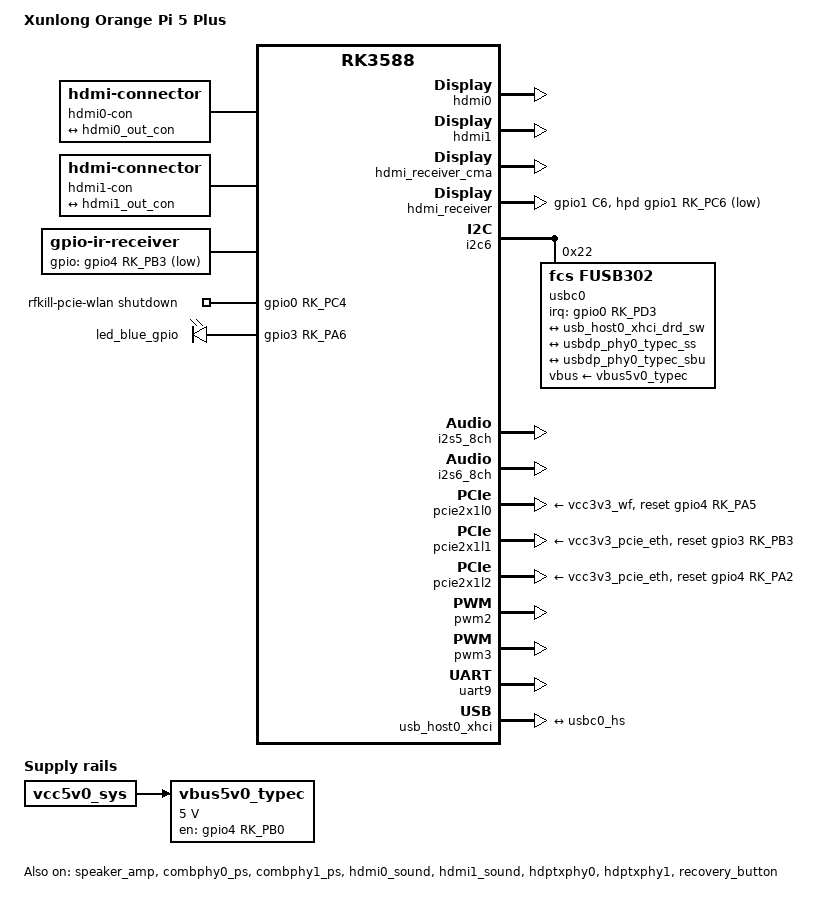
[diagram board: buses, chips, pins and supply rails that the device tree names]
// SPDX-License-Identifier: (GPL-2.0+ OR MIT)
/*
 * Copyright (c) 2023 Ondřej Jirman <megi@xff.cz>
 */

/dts-v1/;

#include <dt-bindings/gpio/gpio.h>
#include <dt-bindings/pinctrl/rockchip.h>
#include <dt-bindings/soc/rockchip,vop2.h>
#include <dt-bindings/usb/pd.h>
#include "rk3588-orangepi-5.dtsi"

/ {
	model = "Xunlong Orange Pi 5 Plus";
	compatible = "xunlong,orangepi-5-plus", "rockchip,rk3588";

	hdmi0-con {
		compatible = "hdmi-connector";
		type = "a";

		port {
			hdmi0_con_in: endpoint {
				remote-endpoint = <&hdmi0_out_con>;
			};
		};
	};

	hdmi1-con {
		compatible = "hdmi-connector";
		type = "a";

		port {
			hdmi1_con_in: endpoint {
				remote-endpoint = <&hdmi1_out_con>;
			};
		};
	};

	ir-receiver {
		compatible = "gpio-ir-receiver";
		gpios = <&gpio4 RK_PB3 GPIO_ACTIVE_LOW>;
		pinctrl-names = "default";
		pinctrl-0 = <&ir_receiver_pin>;
	};

	rfkill {
		compatible = "rfkill-gpio";
		label = "rfkill-pcie-wlan";
		radio-type = "wlan";
		shutdown-gpios = <&gpio0 RK_PC4 GPIO_ACTIVE_HIGH>;
	};

	vbus5v0_typec: regulator-vbus-typec {
		compatible = "regulator-fixed";
		enable-active-high;
		gpio = <&gpio4 RK_PB0 GPIO_ACTIVE_HIGH>;
		pinctrl-names = "default";
		pinctrl-0 = <&typec5v_pwren>;
		regulator-name = "vbus5v0_typec";
		regulator-min-microvolt = <5000000>;
		regulator-max-microvolt = <5000000>;
		vin-supply = <&vcc5v0_sys>;
	};
};

&speaker_amp {
	enable-gpios = <&gpio3 RK_PC0 GPIO_ACTIVE_HIGH>;
	status = "okay";
};

&headphone_amp {
	enable-gpios = <&gpio3 RK_PA7 GPIO_ACTIVE_HIGH>;
};

&analog_sound {
	pinctrl-names = "default";
	pinctrl-0 = <&hp_detect>;
	simple-audio-card,aux-devs = <&speaker_amp>, <&headphone_amp>;
	simple-audio-card,hp-det-gpios = <&gpio1 RK_PD3 GPIO_ACTIVE_HIGH>;
	simple-audio-card,widgets =
		"Microphone", "Onboard Microphone",
		"Microphone", "Microphone Jack",
		"Speaker", "Speaker",
		"Headphone", "Headphones";

	simple-audio-card,routing =
		"Headphones", "LOUT1",
		"Headphones", "ROUT1",
		"Speaker", "LOUT2",
		"Speaker", "ROUT2",

		"Headphones", "Headphones Amp OUTL",
		"Headphones", "Headphones Amp OUTR",
		"Headphones Amp INL", "LOUT1",
		"Headphones Amp INR", "ROUT1",

		"Speaker", "Speaker Amp OUTL",
		"Speaker", "Speaker Amp OUTR",
		"Speaker Amp INL", "LOUT2",
		"Speaker Amp INR", "ROUT2",

		/* single ended signal to LINPUT1 */
		"LINPUT1", "Microphone Jack",
		"RINPUT1", "Microphone Jack",
		/* differential signal */
		"LINPUT2", "Onboard Microphone",
		"RINPUT2", "Onboard Microphone";
};

&combphy0_ps {
	status = "okay";
};

&combphy1_ps {
	status = "okay";
};

&fan {
	pwms = <&pwm3 0 50000 0>;
};

&hdmi0 {
	status = "okay";
};

&hdmi0_sound {
	status = "okay";
};

&hdmi0_in {
	hdmi0_in_vp0: endpoint {
		remote-endpoint = <&vp0_out_hdmi0>;
	};
};

&hdmi0_out {
	hdmi0_out_con: endpoint {
		remote-endpoint = <&hdmi0_con_in>;
	};
};

&hdmi1 {
	status = "okay";
};

&hdmi1_in {
	hdmi1_in_vp1: endpoint {
		remote-endpoint = <&vp1_out_hdmi1>;
	};
};

&hdmi1_out {
	hdmi1_out_con: endpoint {
		remote-endpoint = <&hdmi1_con_in>;
	};
};

&hdmi1_sound {
	status = "okay";
};

&hdmi_receiver_cma {
	status = "okay";
};

&hdmi_receiver {
	hpd-gpios = <&gpio1 RK_PC6 GPIO_ACTIVE_LOW>;
	pinctrl-0 = <&hdmim1_rx_cec &hdmim1_rx_hpdin &hdmim1_rx_scl &hdmim1_rx_sda &hdmirx_hpd>;
	pinctrl-names = "default";
	status = "okay";
};

&hdptxphy0 {
	status = "okay";
};

&hdptxphy1 {
	status = "okay";
};

&hym8563 {
	interrupt-parent = <&gpio0>;
	interrupts = <RK_PB0 IRQ_TYPE_LEVEL_LOW>;
	pinctrl-names = "default";
	pinctrl-0 = <&hym8563_int>;
};

&i2c6 {
	usbc0: usb-typec@22 {
		compatible = "fcs,fusb302";
		reg = <0x22>;
		interrupt-parent = <&gpio0>;
		interrupts = <RK_PD3 IRQ_TYPE_LEVEL_LOW>;
		pinctrl-names = "default";
		pinctrl-0 = <&usbc0_int>;
		vbus-supply = <&vbus5v0_typec>;
		status = "okay";

		usb_con: connector {
			compatible = "usb-c-connector";
			data-role = "dual";
			label = "USB-C";
			power-role = "dual";
			op-sink-microwatt = <10>;
			source-pdos = <PDO_FIXED(5000, 1400, PDO_FIXED_USB_COMM)>;
			sink-pdos = <PDO_FIXED(5000, 10, PDO_FIXED_USB_COMM)>;
			try-power-role = "source";

			ports {
				#address-cells = <1>;
				#size-cells = <0>;

				port@0 {
					reg = <0>;

					usbc0_hs: endpoint {
						remote-endpoint = <&usb_host0_xhci_drd_sw>;
					};
				};

				port@1 {
					reg = <1>;

					usbc0_ss: endpoint {
						remote-endpoint = <&usbdp_phy0_typec_ss>;
					};
				};

				port@2 {
					reg = <2>;

					usbc0_sbu: endpoint {
						remote-endpoint = <&usbdp_phy0_typec_sbu>;
					};
				};
			};
		};
	};
};

&i2s5_8ch {
	status = "okay";
};

&i2s6_8ch {
	status = "okay";
};

&led_blue_gpio {
	gpios = <&gpio3 RK_PA6 GPIO_ACTIVE_HIGH>;
	status = "okay";
};

&led_green_pwm {
	pwms = <&pwm2 0 25000 0>;
};

/* phy1 - M.KEY socket */
&pcie2x1l0 {
	reset-gpios = <&gpio4 RK_PA5 GPIO_ACTIVE_HIGH>;
	vpcie3v3-supply = <&vcc3v3_wf>;
	status = "okay";
};

/* phy2 - right ethernet port */
&pcie2x1l1 {
	reset-gpios = <&gpio3 RK_PB3 GPIO_ACTIVE_HIGH>;
	vpcie3v3-supply = <&vcc3v3_pcie_eth>;
	status = "okay";
};

/* phy0 - left ethernet port */
&pcie2x1l2 {
	reset-gpios = <&gpio4 RK_PA2 GPIO_ACTIVE_HIGH>;
	vpcie3v3-supply = <&vcc3v3_pcie_eth>;
	status = "okay";
};

&pinctrl {
	hym8563 {
		hym8563_int: hym8563-int {
			rockchip,pins = <0 RK_PB0 RK_FUNC_GPIO &pcfg_pull_none>;
		};
	};

	leds {
		blue_led_pin: blue-led {
			rockchip,pins = <3 RK_PA6 RK_FUNC_GPIO &pcfg_pull_up>;
		};
	};

	hdmirx {
		hdmirx_hpd: hdmirx-5v-detection {
			rockchip,pins = <1 RK_PC6 RK_FUNC_GPIO &pcfg_pull_none>;
		};
	};

	ir-receiver {
		ir_receiver_pin: ir-receiver-pin {
			rockchip,pins = <4 RK_PB3 RK_FUNC_GPIO &pcfg_pull_none>;
		};
	};

	sound {
		hp_detect: hp-detect {
			rockchip,pins = <1 RK_PD3 RK_FUNC_GPIO &pcfg_pull_none>;
		};
	};

	usb {
		vcc5v0_usb20_en: vcc5v0-usb20-en {
			rockchip,pins = <3 RK_PB7 RK_FUNC_GPIO &pcfg_pull_none>;
		};
	};

	usb-typec {
		usbc0_int: usbc0-int {
			rockchip,pins = <0 RK_PD3 RK_FUNC_GPIO &pcfg_pull_up>;
		};

		typec5v_pwren: typec5v-pwren {
			rockchip,pins = <4 RK_PB0 RK_FUNC_GPIO &pcfg_pull_none>;
		};
	};
};

&pwm2 {
	pinctrl-0 = <&pwm2m1_pins>;
	pinctrl-names = "default";
	status = "okay";
};

&pwm3 {
	pinctrl-0 = <&pwm3m1_pins>;
	status = "okay";
};

&recovery_button {
	status = "okay";
};

&sfc {
	pinctrl-names = "default";
	pinctrl-0 = <&fspim1_pins>;
};

&u2phy1_otg {
	phy-supply = <&vcc5v0_sys>;
};

&uart9 {
	pinctrl-0 = <&uart9m0_xfer>;
	status = "okay";
};

&usbdp_phy0 {
	mode-switch;
	orientation-switch;
	sbu1-dc-gpios = <&gpio4 RK_PA6 GPIO_ACTIVE_HIGH>;
	sbu2-dc-gpios = <&gpio4 RK_PA7 GPIO_ACTIVE_HIGH>;

	port {
		#address-cells = <1>;
		#size-cells = <0>;

		usbdp_phy0_typec_ss: endpoint@0 {
			reg = <0>;
			remote-endpoint = <&usbc0_ss>;
		};

		usbdp_phy0_typec_sbu: endpoint@1 {
			reg = <1>;
			remote-endpoint = <&usbc0_sbu>;
		};
	};
};

&usb_host0_xhci {
	usb-role-switch;

	port {
		usb_host0_xhci_drd_sw: endpoint {
			remote-endpoint = <&usbc0_hs>;
		};
	};
};

&vcc3v3_pcie_eth {
	gpios = <&gpio3 RK_PB4 GPIO_ACTIVE_LOW>;
};

&vcc3v3_wf {
	status = "okay";
};

&vcc5v0_usb20 {
	gpio = <&gpio3 RK_PB7 GPIO_ACTIVE_HIGH>;
	pinctrl-names = "default";
	pinctrl-0 = <&vcc5v0_usb20_en>;
};

&vp0 {
	vp0_out_hdmi0: endpoint@ROCKCHIP_VOP2_EP_HDMI0 {
		reg = <ROCKCHIP_VOP2_EP_HDMI0>;
		remote-endpoint = <&hdmi0_in_vp0>;
	};
};

&vp1 {
	vp1_out_hdmi1: endpoint@ROCKCHIP_VOP2_EP_HDMI1 {
		reg = <ROCKCHIP_VOP2_EP_HDMI1>;
		remote-endpoint = <&hdmi1_in_vp1>;
	};
};
